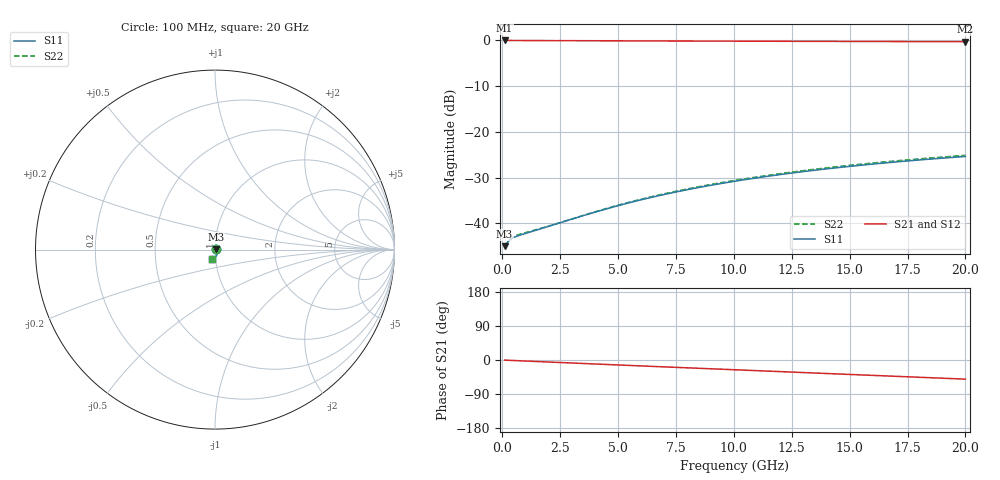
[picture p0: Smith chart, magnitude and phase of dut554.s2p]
! Touchstone file exported from HFSS 2026.1.0
!  File:  C:/ffzhzh/LocalFiles/Ansys_Project_Files/temp_train_TMRDL_554_1783007718_4048.aedt
!  Generated:  11:56:47 PM Jul  2, 2026
!  Design:  TMRDL
!  Project:  temp_train_TMRDL_554_1783007718_4048
! Variables:
!  h_bsmrdl = 2um
!  h_ox = 20um
!  h_rdl = 5um
!  h_sub = 80um
!  h_tmrdl = 5.96um
!  h_tsv = 80um
!  h_via = 3um
!  l_bsmrdl = 300um
!  l_sub = 1335.11um
!  l_tmrdl = 935.11um
!  m_sub = 200um
!  pitch = 13.9um
!  r_tsv = 6um
!  s_tmrdl = 10um
!  w_bsmrdl = 18um
!  w_sub = 500um
!  w_tmrdl = 10.11um
!  x_tsv_center1 = 940.165um
!  x_tsv_center2 = 1258.165um
!  x_tsv_center3 = 2203.385um
!  x_tsv_center4 = 2521.385um
!  x_tsv_center5 = 3466.605um
!  x_tsv_center6 = 3784.605um
# GHz S MA R 50.000000
! Terminal data exported
! Port[1] = TM_RDL1_1_T1
! Port[2] = TM_RDL1_1_T2
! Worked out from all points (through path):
!   200 points, 100 MHz to 20 GHz, reference 50 ohm
!   highest |S21| = -0.05 dB at 100 MHz (marker M1); lowest = -0.3 dB at 20 GHz (marker M2)
!   group delay of S21, straight-line fit = 6.97 ps
!   lowest |S11| = -45.0 dB at 100 MHz (marker M3), VSWR 1.01, Z = 50.6 + j0.0603 ohm
!   |S11| at or under -10 dB: start of sweep to end of sweep
!   |S22| runs from -45.0 to -25.1 dB; largest |S21 - S12| = 4.7e-15
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0.1  0.005633 6.1  0.9944 -0.3  0.9944 -0.3  0.005633 6.1
! Gamma 0 0 0 0
! Port Impedance 50 0 50 0
0.2  0.006099 8.5  0.994 -0.6  0.994 -0.6  0.006097 9.0
0.3  0.006501 8.5  0.9936 -0.9  0.9936 -0.9  0.006544 9.3
0.4  0.006793 7.8  0.9932 -1.1  0.9932 -1.1  0.00689 8.5
0.5  0.007011 6.9  0.9929 -1.4  0.9929 -1.4  0.007149 7.5
0.6  0.007187 6.1  0.9927 -1.7  0.9927 -1.7  0.00735 6.4
0.9  0.007622 4.0  0.9922 -2.5  0.9922 -2.5  0.00779 3.5
2  0.009277 -3.9  0.9907 -5.4  0.9907 -5.4  0.009322 -4.6
3.5  0.01215 -16.8  0.9879 -9.3  0.9879 -9.3  0.01223 -16.9
4.4  0.01416 -24.8  0.986 -11.6  0.986 -11.6  0.01431 -24.8
5.2  0.01608 -31.7  0.9844 -13.6  0.9844 -13.6  0.01629 -31.5
6  0.01809 -38.2  0.9829 -15.7  0.9829 -15.7  0.01837 -37.9
6.8  0.02016 -44.3  0.9814 -17.7  0.9814 -17.7  0.0205 -43.9
7.6  0.02228 -50.0  0.9801 -19.7  0.9801 -19.7  0.02269 -49.6
8.4  0.02442 -55.4  0.9788 -21.7  0.9788 -21.7  0.0249 -54.8
10.1  0.02901 -65.6  0.9762 -25.9  0.9762 -25.9  0.02964 -64.8
11.7  0.03331 -74.1  0.9741 -29.9  0.9741 -29.9  0.03408 -73.0
13.4  0.0378 -82.2  0.9719 -34.2  0.9719 -34.2  0.03874 -80.9
15  0.04192 -89.2  0.97 -38.1  0.97 -38.1  0.04301 -87.6
16.7  0.04613 -96.0  0.968 -42.3  0.968 -42.3  0.04738 -94.3
18.3  0.04992 -102.1  0.9661 -46.3  0.9661 -46.3  0.05132 -100.1
20  0.05371 -108.2  0.9642 -50.5  0.9642 -50.5  0.05527 -106.0
